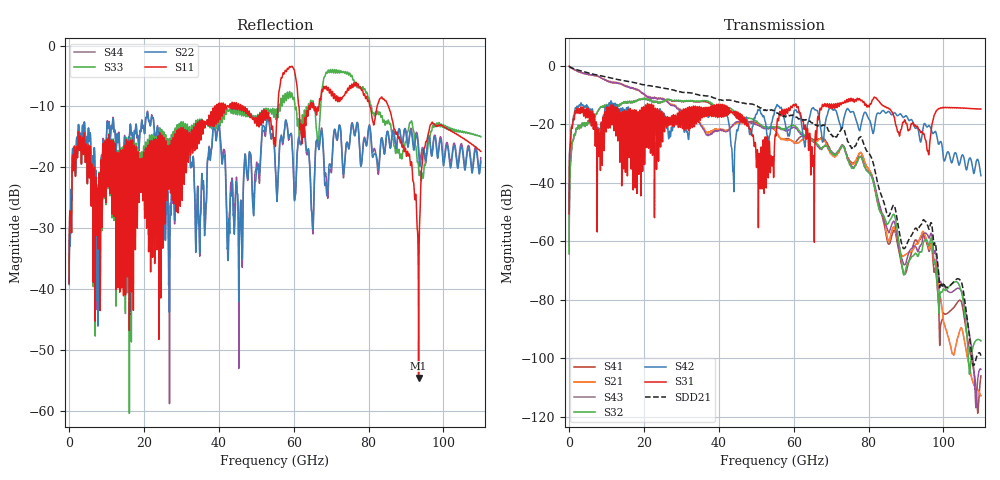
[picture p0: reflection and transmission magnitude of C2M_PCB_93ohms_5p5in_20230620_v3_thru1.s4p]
! Info: Touchstone file created by Circ.  Input file=C2M_PCB_93ohms_5p5in_20230620_v3.circ
# Hz S RI R 50
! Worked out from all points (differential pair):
!   11000 points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, 10 MHz to 110 GHz, reference 50 ohm
!   strongest paths, dB at 10 MHz, 27.51 GHz, 55.01 GHz, 82.51 GHz, 110 GHz:
!     S31: -50.6, -18.7, -24.2, -11.7, -14.8
!     S42: -50.4, -22.0, -14.8, -16.1, -37.6
!     S32: -64.3, -11.9, -20.9, -47.3, -94.1
!     S43: -0.1, -13.5, -21.3, -45.5, -103.9
!     S21: -0.1, -13.2, -21.9, -47.3, -112.9
!     S41: -64.3, -12.1, -22.1, -46.3, -106.1
!   taken as a pair (ports 3,1 in; 4,2 out), SDD21 dB: -0.1, -8.2, -15.6, -40.6, -99.2
!   lowest |S11| = -54.6 dB at 93.36 GHz (marker M1), VSWR 1.00, Z = 49.8 - j0.00356 ohm
!   |S11| at or under -10 dB: start of sweep to 38.96 GHz; 46.45 GHz to 55.78 GHz (9.331 GHz wide, 18.3 % of centre); 85.32 GHz to end of sweep (the widest 3 of 21)
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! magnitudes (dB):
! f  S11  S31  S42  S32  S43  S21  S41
! 10 MHz  -39.1  -50.6  -50.4  -64.3  -0.1  -0.1  -64.3
! 1.41 GHz  -16.6  -18.0  -16.4  -23.4  -1.3  -1.3  -23.4
! 8.47 GHz  -20.6  -23.6  -21.8  -13.9  -4.1  -4.1  -14.0
! 36.54 GHz  -12.5  -16.9  -16.1  -11.9  -23.3  -22.6  -12.3
! 73.11 GHz  -8.4  -12.6  -20.2  -27.3  -27.1  -27.5  -27.2
! 93.36 GHz  -54.6  -21.8  -22.5  -64.8  -63.0  -60.3  -60.1
! 110 GHz  -17.4  -14.8  -37.6  -94.1  -103.9  -112.9  -106.1
